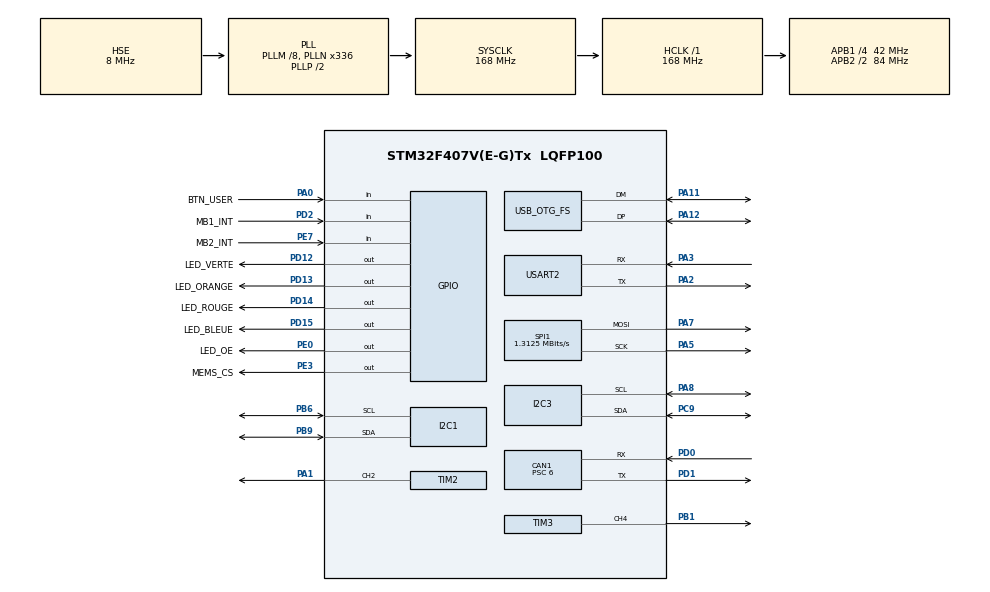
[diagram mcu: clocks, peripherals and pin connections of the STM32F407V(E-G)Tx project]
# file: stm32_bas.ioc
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CAN1.ABOM=ENABLE
CAN1.BS1=CAN_BS1_11TQ
CAN1.BS2=CAN_BS2_2TQ
CAN1.CalculateBaudRate=500000
CAN1.CalculateTimeBit=2000
CAN1.CalculateTimeQuantum=142.85714285714286
CAN1.NART=ENABLE
CAN1.Prescaler=6
CAN1.TXFP=ENABLE
Dma.Request0=SPI1_TX
Dma.SPI1_TX.0.Direction=DMA_MEMORY_TO_PERIPH
Dma.SPI1_TX.0.FIFOMode=DMA_FIFOMODE_DISABLE
Dma.SPI1_TX.0.Instance=DMA2_Stream3
Dma.SPI1_TX.0.MemDataAlignment=DMA_MDATAALIGN_BYTE
Dma.SPI1_TX.0.MemInc=DMA_MINC_ENABLE
Dma.SPI1_TX.0.Mode=DMA_NORMAL
Dma.SPI1_TX.0.PeriphDataAlignment=DMA_PDATAALIGN_BYTE
Dma.SPI1_TX.0.PeriphInc=DMA_PINC_DISABLE
Dma.SPI1_TX.0.Priority=DMA_PRIORITY_LOW
Mcu.Family=STM32F4
Mcu.Name=STM32F407V(E-G)Tx
Mcu.Package=LQFP100
NVIC.CAN1_RX0_IRQn=true\:0\:0\:false\:false\:true\:true\:true\:true
NVIC.DMA2_Stream3_IRQn=true\:0\:0\:false\:false\:true\:false\:true\:true
NVIC.OTG_FS_IRQn=true\:0\:0\:false\:false\:true\:false\:true\:true
NVIC.PriorityGroup=NVIC_PRIORITYGROUP_4
NVIC.USART2_IRQn=true\:0\:0\:false\:false\:true\:true\:true\:true
PA0-WKUP.GPIO_Label=BTN_USER
PA0-WKUP.GPIO_PuPd=GPIO_NOPULL
PA0-WKUP.Signal=GPIO_Input
PA1.Signal=S_TIM2_CH2
PA11.Mode=Device_Only
PA11.Signal=USB_OTG_FS_DM
PA12.Mode=Device_Only
PA12.Signal=USB_OTG_FS_DP
PA13.Mode=Serial_Wire
PA13.Signal=SYS_JTMS-SWDIO
PA14.Mode=Serial_Wire
PA14.Signal=SYS_JTCK-SWCLK
PA2.Mode=Asynchronous
PA2.Signal=USART2_TX
PA3.Mode=Asynchronous
PA3.Signal=USART2_RX
PA5.Mode=TX_Only_Simplex_Unidirect_Master
PA5.Signal=SPI1_SCK
PA7.Mode=TX_Only_Simplex_Unidirect_Master
PA7.Signal=SPI1_MOSI
PA8.Mode=I2C
PA8.Signal=I2C3_SCL
PB1.Signal=S_TIM3_CH4
PB6.Mode=I2C
PB6.Signal=I2C1_SCL
PB9.Mode=I2C
PB9.Signal=I2C1_SDA
PC9.Mode=I2C
PC9.Signal=I2C3_SDA
PD0.Mode=CAN_Activate
PD0.Signal=CAN1_RX
PD1.Mode=CAN_Activate
PD1.Signal=CAN1_TX
PD12.GPIO_Label=LED_VERTE
PD12.Signal=GPIO_Output
PD13.GPIO_Label=LED_ORANGE
PD13.Signal=GPIO_Output
PD14.GPIO_Label=LED_ROUGE
PD14.Signal=GPIO_Output
PD15.GPIO_Label=LED_BLEUE
PD15.Signal=GPIO_Output
PD2.GPIO_Label=MB1_INT
PD2.GPIO_PuPd=GPIO_PULLUP
PD2.Signal=GPIO_Input
PE0.GPIO_Label=LED_OE
PE0.PinState=GPIO_PIN_SET
PE0.Signal=GPIO_Output
PE3.GPIO_Label=MEMS_CS
PE3.PinState=GPIO_PIN_SET
PE3.Signal=GPIO_Output
PE7.GPIO_Label=MB2_INT
PE7.GPIO_PuPd=GPIO_PULLUP
PE7.Signal=GPIO_Input
PH0-OSC_IN.Mode=HSE-External-Oscillator
PH0-OSC_IN.Signal=RCC_OSC_IN
PH1-OSC_OUT.Mode=HSE-External-Oscillator
PH1-OSC_OUT.Signal=RCC_OSC_OUT
ProjectManager.HeapSize=0x200
ProjectManager.StackSize=0x400
ProjectManager.TargetToolchain=STM32CubeIDE
RCC.48MHZClocksFreq_Value=48000000
RCC.AHBFreq_Value=168000000
RCC.APB1CLKDivider=RCC_HCLK_DIV4
RCC.APB1Freq_Value=42000000
RCC.APB1TimFreq_Value=84000000
RCC.APB2CLKDivider=RCC_HCLK_DIV2
RCC.APB2Freq_Value=84000000
RCC.APB2TimFreq_Value=168000000
RCC.CortexFreq_Value=168000000
RCC.HCLKFreq_Value=168000000
RCC.HSE_VALUE=8000000
RCC.HSI_VALUE=16000000
RCC.LSE_VALUE=32768
RCC.PLLM=8
RCC.PLLN=336
RCC.PLLQ=7
RCC.SYSCLKFreq_VALUE=168000000
RCC.SYSCLKSource=RCC_SYSCLKSOURCE_PLLCLK
RCC.VCOOutputFreq_Value=336000000
SH.S_TIM2_CH2.0=TIM2_CH2,PWM Generation2 CH2
SH.S_TIM3_CH4.0=TIM3_CH4,PWM Generation4 CH4
SPI1.BaudRatePrescaler=SPI_BAUDRATEPRESCALER_64
SPI1.CalculateBaudRate=1.3125 MBits/s
SPI1.Direction=SPI_DIRECTION_2LINES
SPI1.Mode=SPI_MODE_MASTER
SPI1.VirtualType=VM_MASTER
TIM2.AutoReloadPreload=TIM_AUTORELOAD_PRELOAD_ENABLE
TIM2.Channel-PWM\ Generation2\ CH2=TIM_CHANNEL_2
TIM2.Period=2210
TIM2.Pulse-PWM\ Generation2\ CH2=1105
TIM3.AutoReloadPreload=TIM_AUTORELOAD_PRELOAD_ENABLE
TIM3.Channel-PWM\ Generation4\ CH4=TIM_CHANNEL_4
TIM3.Period=2210
TIM3.Pulse-PWM\ Generation4\ CH4=1105
USART2.VirtualMode=VM_ASYNC
USB_DEVICE.CLASS_NAME_FS=CDC
USB_DEVICE.VirtualMode-CDC_FS=Cdc
USB_DEVICE.VirtualModeFS=Cdc_FS
USB_OTG_FS.VirtualMode=Device_Only
VP_TIM2_VS_ClockSourceINT.Mode=Internal
VP_TIM3_VS_ClockSourceINT.Mode=Internal
VP_USB_DEVICE_VS_USB_DEVICE_CDC_FS.Mode=CDC_FS
board=custom

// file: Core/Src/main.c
/* USER CODE BEGIN Header */
/**
  ******************************************************************************
  * @file           : main.c
  * @brief          : Main program body
  ******************************************************************************
  * @attention
  *
  * Copyright (c) 2026 STMicroelectronics.
  * All rights reserved.
  *
  * This software is licensed under terms that can be found in the LICENSE file
  * in the root directory of this software component.
  * If no LICENSE file comes with this software, it is provided AS-IS.
  *
  ******************************************************************************
  */
/* USER CODE END Header */
#include "main.h"
#include "can.h"
#include "dma.h"
#include "i2c.h"
#include "spi.h"
#include "tim.h"
#include "usart.h"
#include "usb_device.h"
#include "gpio.h"

/* USER CODE BEGIN Includes */
#include "console.h"     /* console USB (micro-USB) + USART2 */
#include "esa_can.h"     /* service CAN */
#include "noeud.h"       /* heartbeat, surveillance du RPi, aiguillage des trames */
#include "t07_del.h"     /* T07 : DEL de places et eclairage */
#include "essai_t07.h"   /* essai de T07 par la console */
#include "essai_del.h"   /* balayage des DEL une a une (releve des positions) */
#include "t06_ir.h"      /* T06 : detection IR des places */
#include "t06_pcb04.h"   /* T06 : ClickBoard PCB-04 (pilote de l'enseignant) */
#include "essai_t06.h"   /* essai de T06 par la console */
#include "esa_noeud.h"   /* ESA_NOEUD : BAS, HAUT ou BORNE (esa_noeud.h) */
/* USER CODE END Includes */

/* USER CODE BEGIN PD */
/* 1 = CAN en boucle interne : Discovery seule, sans transceiver ni autre noeud
 * 0 = vrai bus CAN (plusieurs STM32 relies par le bornier CAN du PCB-12) */
#define ESSAI_CAN_LOOPBACK   0
/* 1 = sur le vrai bus, ce STM32 joue aussi le faux RPi (demo, hb, ecl...) : il traite
 *     ses propres trames (echo local). Un seul noeud du bus le fait : le BAS. */
#define ESSAI_FAUX_RPI       (ESA_NOEUD == ESA_NOEUD_BAS)
/* 1 = balayage des DEL une a une (essai_del) au lieu de l'application T07 */
#define ESSAI_BALAYAGE_DEL   0
/* 1 = essai sur le banc : le BAS allume aussi l'eclairage du niveau 0 (DEL du dessous de
 *     sa PCB-03) pour demontrer ecl. Mettre 0 pour la maquette (le BAS n'a pas d'eclairage). */
#define ESSAI_ECLAIRAGE_BANC 1
/* Cartes PCB-04 branchees pour T06 : 1 = MikroBus 1 seulement, 2 = MikroBus 1 et 2 */
#define ESSAI_NB_CARTES_IR   2
/* USER CODE END PD */

/* USER CODE BEGIN PV */
#if (ESA_NOEUD == ESA_NOEUD_BAS)
static T06_Pcb04 s_ir_pcb04[T06_NB_CARTES_MAX];   /* ClickBoard PCB-04 de T06 */
static T06_Carte s_ir_cartes[T06_NB_CARTES_MAX];
#endif

/* USER CODE END PV */

void SystemClock_Config(void);

int main(void)
{

  /* MCU Configuration--------------------------------------------------------*/

  /* Reset of all peripherals, Initializes the Flash interface and the Systick. */
  HAL_Init();

  /* Configure the system clock */
  SystemClock_Config();

  /* Initialize all configured peripherals */
  MX_GPIO_Init();
  MX_DMA_Init();
  MX_CAN1_Init();
  MX_SPI1_Init();
  MX_I2C1_Init();
  MX_I2C3_Init();
  MX_TIM2_Init();
  MX_TIM3_Init();
  MX_USART2_UART_Init();
  MX_USB_DEVICE_Init();
  /* USER CODE BEGIN 2 */
  Console_Init();
#if ESSAI_BALAYAGE_DEL
  EssaiDel_Init();
#else
  if (!CanEsa_Init(&hcan1, ESSAI_CAN_LOOPBACK))
  {
    Console_Ecrire("ERREUR : CanEsa_Init\r\n");
  }
  CanEsa_ActiverEchoLocal(ESSAI_FAUX_RPI);
#if (ESA_NOEUD == ESA_NOEUD_BAS) && ESSAI_ECLAIRAGE_BANC
  if (!T07_Init(&T07_CONFIG_BAS_BANC, &hspi1, CanEsa_Envoyer))
#else
  if (!T07_Init(T07_ConfigDuNoeud(), &hspi1, CanEsa_Envoyer))
#endif
  {
    Console_Ecrire("ERREUR : T07_Init\r\n");
  }
#if (ESA_NOEUD == ESA_NOEUD_BAS)
  /* T06 : PCB-04 sur MikroBus 1 (I2C3, PWM TIM3 CH4 / PB1) et MikroBus 2 (I2C1, PWM TIM2 CH2 / PA1) */
  if (!T06_Pcb04_Init(&s_ir_pcb04[0], &hi2c3, &htim3, TIM_CHANNEL_4))
  {
    Console_Ecrire("ERREUR : PCB-04 du MikroBus 1 (I2C3, adresse 0x20)\r\n");
  }
  s_ir_cartes[0] = T06_Pcb04_Interface(&s_ir_pcb04[0]);
#if (ESSAI_NB_CARTES_IR >= 2)
  if (!T06_Pcb04_Init(&s_ir_pcb04[1], &hi2c1, &htim2, TIM_CHANNEL_2))
  {
    Console_Ecrire("ERREUR : PCB-04 du MikroBus 2 (I2C1, adresse 0x20)\r\n");
  }
  s_ir_cartes[1] = T06_Pcb04_Interface(&s_ir_pcb04[1]);
#endif
  if (!T06_Init(s_ir_cartes, ESSAI_NB_CARTES_IR, CanEsa_Envoyer, HAL_GetTick()))
  {
    Console_Ecrire("ERREUR : T06_Init\r\n");
  }
#endif
  Noeud_Init(HAL_GetTick());
  EssaiT07_Init();
#endif
  /* USER CODE END 2 */

  /* Infinite loop */
  while (1)
  {

    /* USER CODE BEGIN 3 */
#if ESSAI_BALAYAGE_DEL
    EssaiDel_Tache();
#else
    uint32_t maintenant = HAL_GetTick();
    Noeud_Tache(maintenant);      /* lit le CAN : heartbeat du RPi, commandes T06 et T07 */
#if (ESA_NOEUD == ESA_NOEUD_BAS)
    T06_Tache(maintenant);        /* balayage IR, 0x300 / 0x301 */
#endif
    T07_Tache(maintenant);        /* clignotement et mise a jour des DEL */
    CanEsa_Tache(maintenant);     /* annule les envois CAN bloques */
    EssaiT07_Tache(maintenant);   /* commandes tapees dans la console */
#if (ESA_NOEUD == ESA_NOEUD_BAS)
    EssaiT06_Tache(maintenant);   /* demo : faux RPi T06 -> T07 */
#endif
#endif
    Console_Tache();
  }
  /* USER CODE END 3 */
}

void SystemClock_Config(void)
{
  RCC_OscInitTypeDef RCC_OscInitStruct = {0};
  RCC_ClkInitTypeDef RCC_ClkInitStruct = {0};

  /** Configure the main internal regulator output voltage
  */
  __HAL_RCC_PWR_CLK_ENABLE();
  __HAL_PWR_VOLTAGESCALING_CONFIG(PWR_REGULATOR_VOLTAGE_SCALE1);

  /** Initializes the RCC Oscillators according to the specified parameters
  * in the RCC_OscInitTypeDef structure.
  */
  RCC_OscInitStruct.OscillatorType = RCC_OSCILLATORTYPE_HSE;
  RCC_OscInitStruct.HSEState = RCC_HSE_ON;
  RCC_OscInitStruct.PLL.PLLState = RCC_PLL_ON;
  RCC_OscInitStruct.PLL.PLLSource = RCC_PLLSOURCE_HSE;
  RCC_OscInitStruct.PLL.PLLM = 8;
  RCC_OscInitStruct.PLL.PLLN = 336;
  RCC_OscInitStruct.PLL.PLLP = RCC_PLLP_DIV2;
  RCC_OscInitStruct.PLL.PLLQ = 7;
  if (HAL_RCC_OscConfig(&RCC_OscInitStruct) != HAL_OK)
  {
    Error_Handler();
  }

  /** Initializes the CPU, AHB and APB buses clocks
  */
  RCC_ClkInitStruct.ClockType = RCC_CLOCKTYPE_HCLK|RCC_CLOCKTYPE_SYSCLK
                              |RCC_CLOCKTYPE_PCLK1|RCC_CLOCKTYPE_PCLK2;
  RCC_ClkInitStruct.SYSCLKSource = RCC_SYSCLKSOURCE_PLLCLK;
  RCC_ClkInitStruct.AHBCLKDivider = RCC_SYSCLK_DIV1;
  RCC_ClkInitStruct.APB1CLKDivider = RCC_HCLK_DIV4;
  RCC_ClkInitStruct.APB2CLKDivider = RCC_HCLK_DIV2;

  if (HAL_RCC_ClockConfig(&RCC_ClkInitStruct, FLASH_LATENCY_5) != HAL_OK)
  {
    Error_Handler();
  }
}

void Error_Handler(void)
{
  __disable_irq();
  while (1)
  {
  }
}
